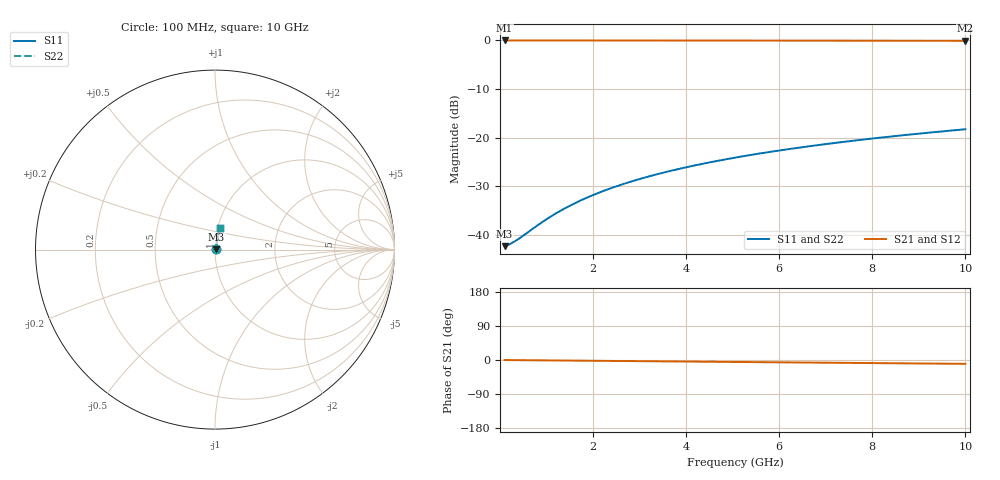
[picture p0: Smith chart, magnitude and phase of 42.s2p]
# Hz S RI R 50.00
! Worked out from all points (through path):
!   100 points, 100 MHz to 10 GHz, reference 50 ohm
!   highest |S21| = -0.07 dB at 100 MHz (marker M1); lowest = -0.1 dB at 10 GHz (marker M2)
!   group delay of S21, straight-line fit = 2.82 ps
!   lowest |S11| = -42.2 dB at 100 MHz (marker M3), VSWR 1.02, Z = 50.8 + j0.123 ohm
!   |S11| at or under -10 dB: start of sweep to end of sweep
!   |S22| runs from -42.2 to -18.3 dB; largest |S21 - S12| = 0
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1e8  0.00764 0.00122  0.9924 -0.00177  0.9924 -0.00177  0.00764 0.00122
2e8  0.00769 0.00243  0.9923 -0.00353  0.9923 -0.00353  0.00769 0.00243
3e8  0.00774 0.00365  0.9923 -0.0053  0.9923 -0.0053  0.00774 0.00365
5e8  0.00783 0.00608  0.9922 -0.00883  0.9922 -0.00883  0.00783 0.00608
9e8  0.00803 0.0109  0.992 -0.0159  0.992 -0.0159  0.00803 0.0109
1.2e9  0.00821 0.0146  0.9918 -0.0212  0.9918 -0.0212  0.00821 0.0146
1.5e9  0.00842 0.0182  0.9915 -0.0265  0.9915 -0.0265  0.00842 0.0182
1.8e9  0.00867 0.0218  0.9913 -0.0318  0.9913 -0.0318  0.00867 0.0218
2.1e9  0.00895 0.0255  0.991 -0.037  0.991 -0.037  0.00895 0.0255
2.5e9  0.00938 0.0303  0.9905 -0.0441  0.9905 -0.0441  0.00938 0.0303
2.9e9  0.00988 0.0351  0.99 -0.0511  0.99 -0.0511  0.00988 0.0351
3.4e9  0.0106 0.0412  0.9892 -0.0599  0.9892 -0.0599  0.0106 0.0412
3.8e9  0.0112 0.046  0.9885 -0.0669  0.9885 -0.0669  0.0112 0.046
4.2e9  0.012 0.0508  0.9877 -0.0739  0.9877 -0.0739  0.012 0.0508
4.6e9  0.0127 0.0555  0.9869 -0.0809  0.9869 -0.0809  0.0127 0.0555
5.1e9  0.0138 0.0615  0.9858 -0.0896  0.9858 -0.0896  0.0138 0.0615
5.9e9  0.0157 0.071  0.9837 -0.1035  0.9837 -0.1035  0.0157 0.071
6.7e9  0.0179 0.0804  0.9813 -0.1174  0.9813 -0.1174  0.0179 0.0804
7.5e9  0.0204 0.0897  0.9787 -0.1311  0.9787 -0.1311  0.0204 0.0897
8.4e9  0.0235 0.1001  0.9754 -0.1465  0.9754 -0.1465  0.0235 0.1001
9.2e9  0.0265 0.1093  0.9722 -0.1601  0.9722 -0.1601  0.0265 0.1093
1e10  0.0297 0.1183  0.9687 -0.1736  0.9687 -0.1736  0.0297 0.1183
